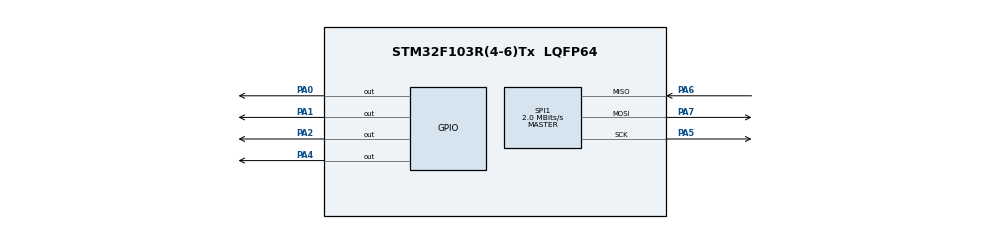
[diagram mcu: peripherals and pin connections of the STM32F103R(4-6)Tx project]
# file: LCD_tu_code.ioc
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Mcu.Family=STM32F1
Mcu.Name=STM32F103R(4-6)Tx
Mcu.Package=LQFP64
NVIC.PriorityGroup=NVIC_PRIORITYGROUP_4
PA0-WKUP.Signal=GPIO_Output
PA1.Signal=GPIO_Output
PA13.Mode=Serial_Wire
PA13.Signal=SYS_JTMS-SWDIO
PA14.Mode=Serial_Wire
PA14.Signal=SYS_JTCK-SWCLK
PA2.Signal=GPIO_Output
PA4.Signal=GPIO_Output
PA5.Mode=Full_Duplex_Master
PA5.Signal=SPI1_SCK
PA6.Mode=Full_Duplex_Master
PA6.Signal=SPI1_MISO
PA7.Mode=Full_Duplex_Master
PA7.Signal=SPI1_MOSI
ProjectManager.HeapSize=0x200
ProjectManager.StackSize=0x400
ProjectManager.TargetToolchain=MDK-ARM V5.27
RCC.APB1Freq_Value=8000000
RCC.APB2Freq_Value=8000000
SPI1.BaudRatePrescaler=SPI_BAUDRATEPRESCALER_4
SPI1.CalculateBaudRate=2.0 MBits/s
SPI1.Direction=SPI_DIRECTION_2LINES
SPI1.Mode=SPI_MODE_MASTER
SPI1.VirtualType=VM_MASTER
board=custom

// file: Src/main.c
/* USER CODE BEGIN Header */
/**
  ******************************************************************************
  * @file           : main.c
  * @brief          : Main program body
  ******************************************************************************
  * @attention
  *
  * <h2><center>&copy; Copyright (c) 2020 STMicroelectronics.
  * All rights reserved.</center></h2>
  *
  * This software component is licensed by ST under BSD 3-Clause license,
  * the "License"; You may not use this file except in compliance with the
  * License. You may obtain a copy of the License at:
  *                        opensource.org/licenses/BSD-3-Clause
  *
  ******************************************************************************
  */
/* USER CODE END Header */

#include "main.h"
#include "PCD8544.h"
#include "mikroE_logo.c"

SPI_HandleTypeDef hspi1;

void SystemClock_Config(void);
static void MX_GPIO_Init(void);
static void MX_SPI1_Init(void);
/* USER CODE BEGIN PFP */
void setup();
/* USER CODE END PFP */

int main(void)
{
  /* USER CODE BEGIN 1 */
unsigned char g = 0;
     const unsigned char txt1[11] = {"MicroArena"};
     const unsigned char txt2[11] = {"SSHAHRYIAR"};

     signed char c = -9;
     signed int i = -66;
     float f = -0.04;

     setup();

     PCD8544_backlight_state(ON);
     PCD8544_print_image(mikro_bmp);
     delay_ms(2000);

     PCD8544_backlight_state(OFF);
     delay_ms(2000);

     PCD8544_clear_screen(WHITE);

     PCD8544_backlight_state(ON);
     Draw_Rectangle(2, 2, 81, 45, OFF, BLACK);
     delay_ms(200);

     Draw_Circle(6, 6, 2, ON, BLACK);
     delay_ms(200);
     Draw_Circle(77, 6, 2, ON, BLACK);
     delay_ms(200);
     Draw_Circle(77, 41, 2, ON, BLACK);
     delay_ms(200);
     Draw_Circle(6, 41, 2, ON, BLACK);
     delay_ms(200);

     Draw_Line(2, 11, 10, 11, BLACK);
     Draw_Line(73, 11, 81, 11, BLACK);
     delay_ms(200);
     Draw_Line(2, 36, 10, 36, BLACK);
     Draw_Line(73, 36, 81, 36, BLACK);
     delay_ms(200);
     Draw_Line(11, 45, 11, 2, BLACK);
     Draw_Line(72, 45, 72, 2, BLACK);
     delay_ms(200);

     PCD8544_backlight_state(OFF);
     delay_ms(400);

     PCD8544_backlight_state(ON);

     for(g = 0; g <= 9; g++)
     {
         PCD8544_set_cursor((18 + (g * 5)), 2);
         PCD8544_print_char(txt1[g], WHITE);
         delay_ms(90);
     }

     for(g = 0; g <= 9; g++)
     {
         PCD8544_set_cursor((18 + (g * 5)), 3);
         PCD8544_print_char(txt2[g], WHITE);
         delay_ms(90);
     }
     delay_ms(4000);

     PCD8544_clear_screen(WHITE);

     PCD8544_print_string(1, 2, "CHR:", WHITE);
     PCD8544_print_string(1, 3, "INT:", WHITE);
     PCD8544_print_string(1, 4, "FLT:", WHITE);
  /* USER CODE END 1 */

  /* MCU Configuration--------------------------------------------------------*/

  /* Reset of all peripherals, Initializes the Flash interface and the Systick. */
  HAL_Init();

  /* Configure the system clock */
  SystemClock_Config();

  /* Initialize all configured peripherals */
  MX_GPIO_Init();
  MX_SPI1_Init();

  /* Infinite loop */
  /* USER CODE BEGIN WHILE */
  while (1)
  {
		 print_chr(26, 2, c, WHITE);
         print_int(26, 3, i, WHITE);
         print_float(26, 4, f, 2, WHITE);
         c++;
         i++;
         f += 0.01;
         delay_ms(400);
    /* USER CODE END WHILE */

  }
}

void SystemClock_Config(void)
{
  RCC_OscInitTypeDef RCC_OscInitStruct = {0};
  RCC_ClkInitTypeDef RCC_ClkInitStruct = {0};

  /** Initializes the CPU, AHB and APB busses clocks
  */
  RCC_OscInitStruct.OscillatorType = RCC_OSCILLATORTYPE_HSI;
  RCC_OscInitStruct.HSIState = RCC_HSI_ON;
  RCC_OscInitStruct.HSICalibrationValue = RCC_HSICALIBRATION_DEFAULT;
  RCC_OscInitStruct.PLL.PLLState = RCC_PLL_NONE;
  if (HAL_RCC_OscConfig(&RCC_OscInitStruct) != HAL_OK)
  {
    Error_Handler();
  }
  /** Initializes the CPU, AHB and APB busses clocks
  */
  RCC_ClkInitStruct.ClockType = RCC_CLOCKTYPE_HCLK|RCC_CLOCKTYPE_SYSCLK
                              |RCC_CLOCKTYPE_PCLK1|RCC_CLOCKTYPE_PCLK2;
  RCC_ClkInitStruct.SYSCLKSource = RCC_SYSCLKSOURCE_HSI;
  RCC_ClkInitStruct.AHBCLKDivider = RCC_SYSCLK_DIV1;
  RCC_ClkInitStruct.APB1CLKDivider = RCC_HCLK_DIV1;
  RCC_ClkInitStruct.APB2CLKDivider = RCC_HCLK_DIV1;

  if (HAL_RCC_ClockConfig(&RCC_ClkInitStruct, FLASH_LATENCY_0) != HAL_OK)
  {
    Error_Handler();
  }
}

static void MX_SPI1_Init(void)
{

  /* SPI1 parameter configuration*/
  hspi1.Instance = SPI1;
  hspi1.Init.Mode = SPI_MODE_MASTER;
  hspi1.Init.Direction = SPI_DIRECTION_2LINES;
  hspi1.Init.DataSize = SPI_DATASIZE_8BIT;
  hspi1.Init.CLKPolarity = SPI_POLARITY_LOW;
  hspi1.Init.CLKPhase = SPI_PHASE_1EDGE;
  hspi1.Init.NSS = SPI_NSS_SOFT;
  hspi1.Init.BaudRatePrescaler = SPI_BAUDRATEPRESCALER_4;
  hspi1.Init.FirstBit = SPI_FIRSTBIT_MSB;
  hspi1.Init.TIMode = SPI_TIMODE_DISABLE;
  hspi1.Init.CRCCalculation = SPI_CRCCALCULATION_DISABLE;
  hspi1.Init.CRCPolynomial = 10;
  if (HAL_SPI_Init(&hspi1) != HAL_OK)
  {
    Error_Handler();
  }

}

static void MX_GPIO_Init(void)
{
  GPIO_InitTypeDef GPIO_InitStruct = {0};

  /* GPIO Ports Clock Enable */
  __HAL_RCC_GPIOA_CLK_ENABLE();

  /*Configure GPIO pin Output Level */
  HAL_GPIO_WritePin(GPIOA, GPIO_PIN_0|GPIO_PIN_1|GPIO_PIN_2|GPIO_PIN_4, GPIO_PIN_RESET);

  /*Configure GPIO pins : PA0 PA1 PA2 PA4 */
  GPIO_InitStruct.Pin = GPIO_PIN_0|GPIO_PIN_1|GPIO_PIN_2|GPIO_PIN_4;
  GPIO_InitStruct.Mode = GPIO_MODE_OUTPUT_PP;
  GPIO_InitStruct.Pull = GPIO_NOPULL;
  GPIO_InitStruct.Speed = GPIO_SPEED_FREQ_LOW;
  HAL_GPIO_Init(GPIOA, &GPIO_InitStruct);

}

/* USER CODE BEGIN 4 */
void setup()
{
    PCD8544_init();
    PCD8544_clear_screen(WHITE);
}
/* USER CODE END 4 */

void Error_Handler(void)
{
}

/************************ (C) COPYRIGHT STMicroelectronics *****END OF FILE****/
